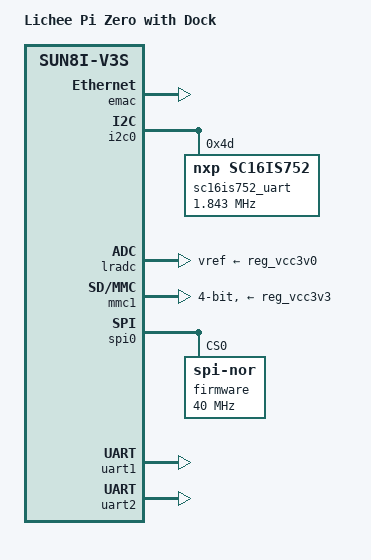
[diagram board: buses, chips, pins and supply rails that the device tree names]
/*
 * Copyright (C) 2016 Icenowy Zheng <icenowy@aosc.xyz>
 *
 * This file is dual-licensed: you can use it either under the terms
 * of the GPL or the X11 license, at your option. Note that this dual
 * licensing only applies to this file, and not this project as a
 * whole.
 *
 *  a) This file is free software; you can redistribute it and/or
 *     modify it under the terms of the GNU General Public License as
 *     published by the Free Software Foundation; either version 2 of the
 *     License, or (at your option) any later version.
 *
 *     This file is distributed in the hope that it will be useful,
 *     but WITHOUT ANY WARRANTY; without even the implied warranty of
 *     MERCHANTABILITY or FITNESS FOR A PARTICULAR PURPOSE.  See the
 *     GNU General Public License for more details.
 *
 * Or, alternatively,
 *
 *  b) Permission is hereby granted, free of charge, to any person
 *     obtaining a copy of this software and associated documentation
 *     files (the "Software"), to deal in the Software without
 *     restriction, including without limitation the rights to use,
 *     copy, modify, merge, publish, distribute, sublicense, and/or
 *     sell copies of the Software, and to permit persons to whom the
 *     Software is furnished to do so, subject to the following
 *     conditions:
 *
 *     The above copyright notice and this permission notice shall be
 *     included in all copies or substantial portions of the Software.
 *
 *     THE SOFTWARE IS PROVIDED "AS IS", WITHOUT WARRANTY OF ANY KIND,
 *     EXPRESS OR IMPLIED, INCLUDING BUT NOT LIMITED TO THE WARRANTIES
 *     OF MERCHANTABILITY, FITNESS FOR A PARTICULAR PURPOSE AND
 *     NONINFRINGEMENT. IN NO EVENT SHALL THE AUTHORS OR COPYRIGHT
 *     HOLDERS BE LIABLE FOR ANY CLAIM, DAMAGES OR OTHER LIABILITY,
 *     WHETHER IN AN ACTION OF CONTRACT, TORT OR OTHERWISE, ARISING
 *     FROM, OUT OF OR IN CONNECTION WITH THE SOFTWARE OR THE USE OR
 *     OTHER DEALINGS IN THE SOFTWARE.
 */

#include "sun8i-v3s-licheepi-zero.dts"

#include <dt-bindings/input/input.h>

/ {
	model = "Lichee Pi Zero with Dock";
	compatible = "licheepi,licheepi-zero-dock", "licheepi,licheepi-zero",
		     "allwinner,sun8i-v3s";

	/* APB2: 15MHz keeps 921600 on integer DLL=1 and avoids V3S DLF errors. */
	assigned-clocks = <&ccu CLK_APB2>;
	assigned-clock-parents = <&ccu CLK_PLL_PERIPH0>;
	assigned-clock-rates = <15000000>;

	aliases {
		ethernet0 = &emac;
	};

	leds {
		/* The LEDs use PG0~2 pins, which conflict with MMC1 */
		status = "disabled";
	};
};

&emac {
	allwinner,leds-active-low;
	status = "okay";
};

/* TWI0/I2C0: SC16IS752IPW dual UART expander on PB6/PB7.
 * IRQ# is intentionally not connected in this hardware revision, so
 * the Linux sc16is7xx driver will use polling.
 * Address 0x4d matches the EVT board's measured I2C strap.
 */
&i2c0 {
	status = "okay";

	sc16is752_uart: serial@4d {
		compatible = "nxp,sc16is752";
		reg = <0x4d>;
		clock-frequency = <1843200>;
	};
};

&lradc {
	vref-supply = <&reg_vcc3v0>;
	status = "okay";

	button-200 {
		label = "Volume Up";
		linux,code = <KEY_VOLUMEUP>;
		channel = <0>;
		voltage = <200000>;
	};

	button-400 {
		label = "Volume Down";
		linux,code = <KEY_VOLUMEDOWN>;
		channel = <0>;
		voltage = <400000>;
	};

	button-600 {
		label = "Select";
		linux,code = <KEY_SELECT>;
		channel = <0>;
		voltage = <600000>;
	};

	button-800 {
		label = "Start";
		linux,code = <KEY_OK>;
		channel = <0>;
		voltage = <800000>;
	};
};

&mmc1 {
	broken-cd;
	bus-width = <4>;
	vmmc-supply = <&reg_vcc3v3>;
	status = "okay";
};

/* SPI NOR Flash (w25q128 @ SPI0) */
&spi0 {
	#address-cells = <1>;
	#size-cells = <0>;
	cs-gpios = <0>;
	status = "okay";

	flash@0 {
		compatible = "jedec,spi-nor";
		reg = <0>;
		#address-cells = <1>;
		#size-cells = <1>;
		label = "firmware";
		spi-max-frequency = <40000000>;
	};
};

/* UART1: DJI-B RC Plus 2 @921600 (PE21=RX, PE22=TX) */
&uart1 {
	pinctrl-0 = <&uart1_pe_pins>;
	pinctrl-names = "default";
	status = "okay";
};

/* UART2: DJI-A old RC @115200 (PB0=RX, PB1=TX/SBUS out) */
&uart2 {
	pinctrl-0 = <&uart2_pins>;
	pinctrl-names = "default";
	status = "okay";
};
